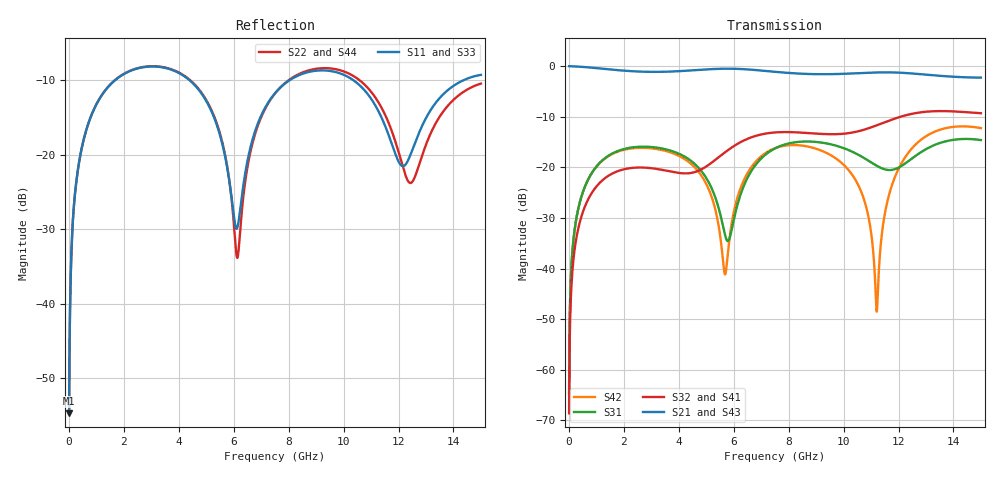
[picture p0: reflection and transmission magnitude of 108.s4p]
! Created with skrf 1.8.0 (http://scikit-rf.org).
# GHz S RI R 50.0
!freq ReS11 ImS11 ReS12 ImS12 ReS13 ImS13
! ReS14 ImS14
! ReS21 ImS21 ReS22 ImS22 ReS23 ImS23
! ReS24 ImS24
! ReS31 ImS31 ReS32 ImS32 ReS33 ImS33
! ReS34 ImS34
! ReS41 ImS41 ReS42 ImS42 ReS43 ImS43
! ReS44 ImS44
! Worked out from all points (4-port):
!   2499 points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, 5 MHz to 15 GHz, reference 50 ohm
!   strongest paths, dB at 5 MHz, 3.476 GHz, 7.19 GHz, 11.1 GHz, 15 GHz:
!     S21: 0.0, -1.1, -1.0, -1.3, -2.3
!     S43: 0.0, -1.1, -1.0, -1.3, -2.3
!     S32: -68.6, -20.6, -13.3, -11.9, -9.3
!     S41: -68.6, -20.6, -13.3, -11.9, -9.4
!     S31: -64.6, -16.4, -17.3, -19.3, -14.6
!     S42: -64.6, -16.7, -17.1, -38.0, -12.2
!   lowest |S11| = -54.7 dB at 5 MHz (marker M1), VSWR 1.00, Z = 50.1 + j0.112 ohm
!   |S11| at or under -10 dB: start of sweep to 1.67 GHz; 4.397 GHz to 8.026 GHz (3.628 GHz wide, 58.4 % of centre); 10.36 GHz to 14.35 GHz (3.989 GHz wide, 32.3 % of centre)
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0.005  0.00147 0.00112  0.9985 -0.00286  7.33e-05 0.000583  -7.11e-05 -0.000365
       0.9985 -0.00286  0.00147 0.00112  -7.11e-05 -0.000365  7.32e-05 0.000583
       7.33e-05 0.000583  -7.11e-05 -0.000365  0.00147 0.00112  0.9985 -0.00286
       -7.11e-05 -0.000365  7.32e-05 0.000583  0.9985 -0.00286  0.00147 0.00112
0.3126303  0.0199 0.074  0.9729 -0.1785  0.00919 0.035  -0.0075 -0.0218
           0.9729 -0.1785  0.02 0.074  -0.0075 -0.0218  0.0088 0.0351
           0.00919 0.035  -0.0075 -0.0218  0.0199 0.074  0.9729 -0.1785
           -0.0075 -0.0218  0.0088 0.0351  0.9729 -0.1785  0.02 0.074
1.569404  0.239 0.1885  0.6123 -0.6902  0.1195 0.0662  -0.0849 -0.0164
          0.6123 -0.6902  0.2407 0.1875  -0.0851 -0.0163  0.114 0.0726
          0.1195 0.0662  -0.0851 -0.0163  0.2389 0.1885  0.6123 -0.6903
          -0.0849 -0.0164  0.114 0.0726  0.6123 -0.6903  0.2408 0.1875
6.171321  0.0328 0.0129  -0.9376 -0.0359  -0.00307 0.0461  -0.00262 0.1726
          -0.9376 -0.0359  0.0209 0.00804  2.21e-05 0.1727  0.0193 0.0507
          -0.00307 0.0461  2.21e-05 0.1727  0.0325 0.0116  -0.9376 -0.036
          -0.00262 0.1726  0.0193 0.0507  -0.9376 -0.036  0.0214 0.00694
9.735306  0.3532 -0.0628  0.1003 0.8289  0.0958 -0.1325  0.1979 -0.073
          0.1003 0.8289  0.368 -0.0732  0.1973 -0.0793  0.1057 -0.0602
          0.0958 -0.1325  0.1973 -0.0793  0.3518 -0.0593  0.1015 0.8291
          0.1979 -0.073  0.1057 -0.0602  0.1015 0.8291  0.3673 -0.0768
11.20467  0.1601 -0.131  0.6499 0.5712  -0.073 -0.0737  0.1693 -0.1973
          0.6499 0.5712  0.1659 -0.167  0.1624 -0.203  0.00367 0.000841
          -0.073 -0.0737  0.1624 -0.203  0.1623 -0.1269  0.6515 0.5699
          0.1693 -0.1973  0.00367 0.000841  0.6515 0.5699  0.1617 -0.1686
15  0.3433 0.0269  0.3039 -0.7067  0.1836 -0.0296  -0.3338 -0.0635
    0.3039 -0.7067  0.2961 0.0526  -0.3386 -0.0515  0.2279 -0.0876
    0.1836 -0.0296  -0.3386 -0.0515  0.3451 0.029  0.3001 -0.7062
    -0.3338 -0.0635  0.2279 -0.0876  0.3001 -0.7062  0.3051 0.0502
